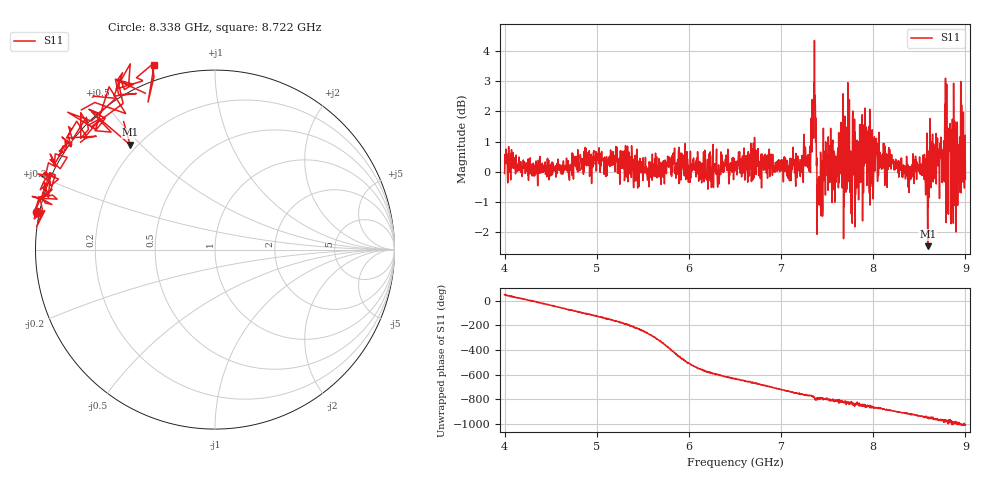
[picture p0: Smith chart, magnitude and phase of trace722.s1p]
! Created with skrf 1.8.0 (http://scikit-rf.org).
# Hz S RI R 50.0
!freq ReS11 ImS11
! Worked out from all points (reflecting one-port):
!   1601 points, 4 GHz to 9 GHz, reference 50 ohm
!   lowest |S11| = -2.5 dB at 8.591 GHz (marker M1), VSWR 7.07, Z = 8.64 + j23.3 ohm
!   phase of S11 starts at 49 deg and turns -1057 deg over the sweep
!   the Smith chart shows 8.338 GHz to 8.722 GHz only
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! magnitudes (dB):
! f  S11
! 4 GHz  -0.1
! 4.625 GHz  0.1
! 4.988 GHz  0.3
! 5.25 GHz  -0.4
! 5.875 GHz  0.0
! 6.5 GHz  0.2
! 7.125 GHz  0.3
! 7.294 GHz  0.1
! 7.353 GHz  1.1
! 7.362 GHz  4.4
! 7.4 GHz  -1.1
! 7.412 GHz  -0.2
! 7.481 GHz  -0.8
! 7.609 GHz  0.4
! 7.65 GHz  1.6
! 7.75 GHz  -0.7
! 7.784 GHz  -0.1
! 7.8 GHz  -1.8
! 7.928 GHz  1.3
! 7.981 GHz  -0.4
! 8.038 GHz  0.6
! 8.375 GHz  -0.2
! 8.591 GHz  -2.5
! 8.634 GHz  -0.1
! 8.759 GHz  0.6
! 8.919 GHz  -0.3
! 8.953 GHz  -0.7
! 9 GHz  -0.2
